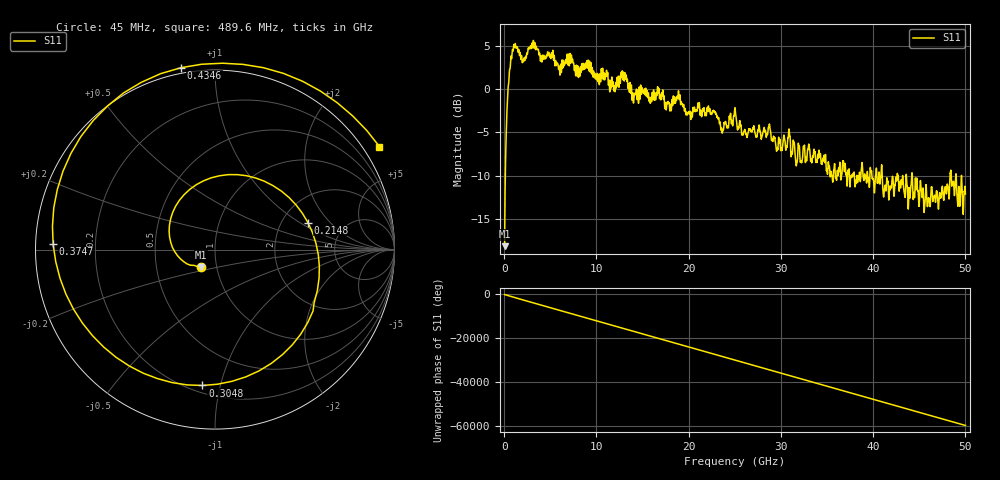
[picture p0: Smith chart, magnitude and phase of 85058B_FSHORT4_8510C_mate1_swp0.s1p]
!Created with skrf (http://scikit-rf.org).
# Hz S RI R 50.0
!freq ReS11 ImS11
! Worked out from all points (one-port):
!   10001 points, 45 MHz to 50 GHz, reference 50 ohm
!   lowest |S11| = -18.2 dB at 45 MHz (marker M1), VSWR 1.28, Z = 42.1 - j8.29 ohm
!   |S11| at or under -10 dB: 40.98 GHz to 42.59 GHz (1.612 GHz wide, 3.86 % of centre); 42.69 GHz to 43.57 GHz (877.7 MHz wide, 2.03 % of centre); 44.25 GHz to 48.33 GHz (4.087 GHz wide, 8.83 % of centre) (the widest 3 of 25)
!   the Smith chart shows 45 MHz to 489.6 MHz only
!   S11 on the Smith chart (normalised r, x): 45 MHz: 0.84, -0.17; 214.8 MHz: 2.78, +1.18; 304.8 MHz: 0.25, -0.88; 374.7 MHz: 0.05, +0.02; 434.6 MHz: -0.03, +0.83; 489.6 MHz: -0.50, +3.41
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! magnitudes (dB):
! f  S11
! 45 MHz  -18.2
! 214.8 MHz  -5.4
! 304.8 MHz  -2.4
! 374.7 MHz  -0.9
! 434.6 MHz  0.3
! 489.6 MHz  0.7
! 814.3 MHz  3.5
! 1.209 GHz  5.2
! 2.023 GHz  3.4
! 3.227 GHz  4.8
! 6.289 GHz  3.3
! 7.189 GHz  3.1
! 7.968 GHz  2.6
! 12.53 GHz  1.3
! 14.06 GHz  -1.1
! 18.78 GHz  -0.9
! 20.03 GHz  -2.7
! 22.79 GHz  -2.7
! 23.57 GHz  -4.6
! 25.02 GHz  -2.2
! 25.98 GHz  -4.9
! 28.69 GHz  -4.4
! 31.27 GHz  -7.2
! 37.51 GHz  -11.0
! 43.76 GHz  -12.6
! 47.18 GHz  -12.2
! 48.53 GHz  -11.2
! 50 GHz  -12.1
